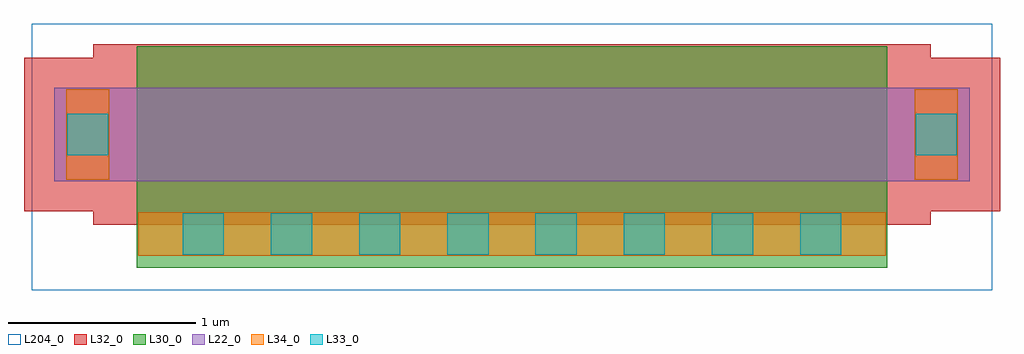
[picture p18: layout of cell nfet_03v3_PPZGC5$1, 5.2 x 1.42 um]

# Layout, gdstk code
import gdstk
lib = gdstk.Library(unit=1e-6, precision=1e-09)
def R(c, l, rs):  # rectangles x0, y0, x1, y1
    for r in rs: c.add(gdstk.rectangle(r[:2], r[2:], *l))
def A(c, l, x, y, w, h, nx, ny, dx, dy):  # array of equal rectangles
    R(c, l, [(x+i*dx, y+j*dy, x+i*dx+w, y+j*dy+h) for i in range(nx) for j in range(ny)])
L22_0 = (22, 0)
L30_0 = (30, 0)
L32_0 = (32, 0)
L33_0 = (33, 0)
L34_0 = (34, 0)
L204_0 = (204, 0)

nfet_03v3_ppzgc5_1 = lib.new_cell('nfet_03v3_PPZGC5$1')
R(nfet_03v3_ppzgc5_1, L22_0, [(-2.44,-0.13,2.44,0.37)])
R(nfet_03v3_ppzgc5_1, L30_0, [(-2,-0.59,2,0.59)])
R(nfet_03v3_ppzgc5_1, L32_0, [(-2.23,-0.36,2.23,-0.29), (-2.6,-0.29,2.6,0.53), (-2.23,0.53,2.23,0.6)])
A(nfet_03v3_ppzgc5_1, L33_0, -1.755, -0.52, 0.22, 0.22, 8, 1, 0.47, 0)
R(nfet_03v3_ppzgc5_1, L33_0, [(-2.37,0.01,-2.15,0.23), (2.15,0.01,2.37,0.23)])
R(nfet_03v3_ppzgc5_1, L34_0, [(-1.99,-0.525,1.99,-0.295), (-2.375,-0.12,-2.145,0.36), (2.145,-0.12,2.375,0.36)])
R(nfet_03v3_ppzgc5_1, L204_0, [(-2.56,-0.71,2.56,0.71)])

lib.write_gds('nfet_03v3_PPZGC5_1.gds')
